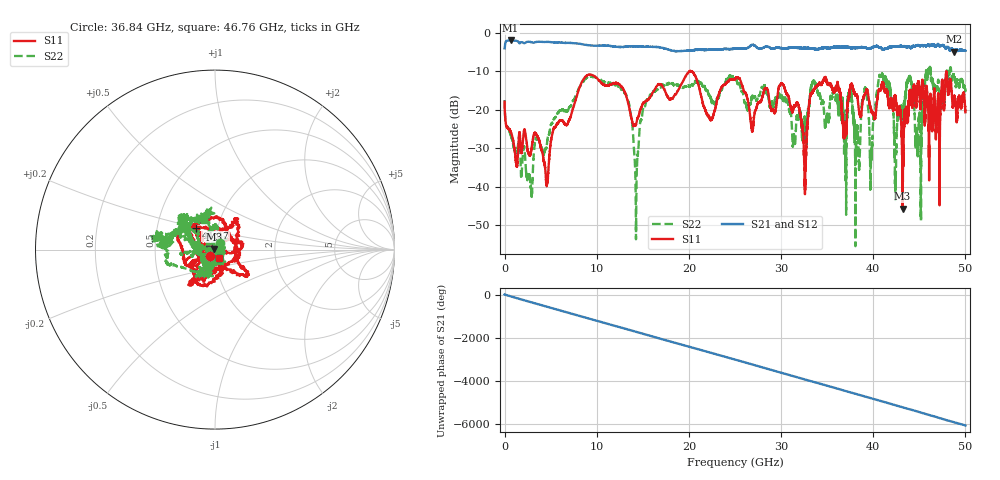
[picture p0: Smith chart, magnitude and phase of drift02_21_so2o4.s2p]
!Created with skrf (http://scikit-rf.org).
# Hz S RI R 50.0
!freq ReS11 ImS11 ReS21 ImS21 ReS12 ImS12 ReS22 ImS22
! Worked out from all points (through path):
!   10001 points, 300 kHz to 50 GHz, reference 50 ohm
!   highest |S21| = -1.99 dB at 645.3 MHz (marker M1); lowest = -4.9 dB at 48.77 GHz (marker M2)
!   group delay of S21, straight-line fit = 337 ps
!   lowest |S11| = -45.7 dB at 43.19 GHz (marker M3), VSWR 1.01, Z = 49.6 + j0.36 ohm
!   |S11| at or under -10 dB: start of sweep to 20.06 GHz; 20.20729 GHz to 20.21686 GHz (9.567 MHz wide, 0.0473 % of centre); 20.24 GHz to end of sweep (the widest 3 of 4)
!   |S22| runs from -55.5 to -8.9 dB; largest |S21 - S12| = 0.033
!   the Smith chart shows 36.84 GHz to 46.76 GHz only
!   S11 on the Smith chart (normalised r, x): 36.84 GHz: 0.95, -0.07; 44.07 GHz: 0.78, +0.19; 46.76 GHz: 1.04, -0.10
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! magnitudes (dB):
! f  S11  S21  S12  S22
! 300 kHz  -17.9  -4.1  -4.0  -17.5
! 645.3 MHz  -25.7  -2.0  -2.0  -26.4
! 2.785 GHz  -31.4  -2.4  -2.4  -38.8
! 4.565 GHz  -39.7  -2.4  -2.4  -29.4
! 8.335 GHz  -13.0  -3.0  -2.9  -13.2
! 13.01 GHz  -15.3  -3.7  -3.7  -15.6
! 14.28 GHz  -23.8  -3.5  -3.5  -47.4
! 16.67 GHz  -13.4  -3.7  -3.7  -14.5
! 25 GHz  -12.0  -4.1  -4.1  -12.1
! 26.86 GHz  -25.4  -3.1  -3.1  -16.5
! 30.18 GHz  -13.4  -4.1  -4.1  -16.9
! 32.56 GHz  -39.1  -4.0  -4.0  -24.2
! 33.34 GHz  -15.8  -4.1  -4.1  -13.5
! 36.84 GHz  -27.2  -3.7  -3.7  -26.6
! 41.67 GHz  -18.5  -3.8  -3.9  -12.6
! 42.42 GHz  -17.0  -3.7  -3.7  -37.0
! 43.19 GHz  -45.7  -3.6  -3.6  -21.5
! 44.07 GHz  -15.8  -4.0  -3.9  -11.9
! 44.99 GHz  -14.2  -3.4  -3.3  -21.1
! 46.76 GHz  -25.5  -3.5  -3.5  -15.1
! 48.77 GHz  -17.0  -4.9  -4.8  -11.0
! 50 GHz  -20.7  -4.7  -4.6  -14.9
